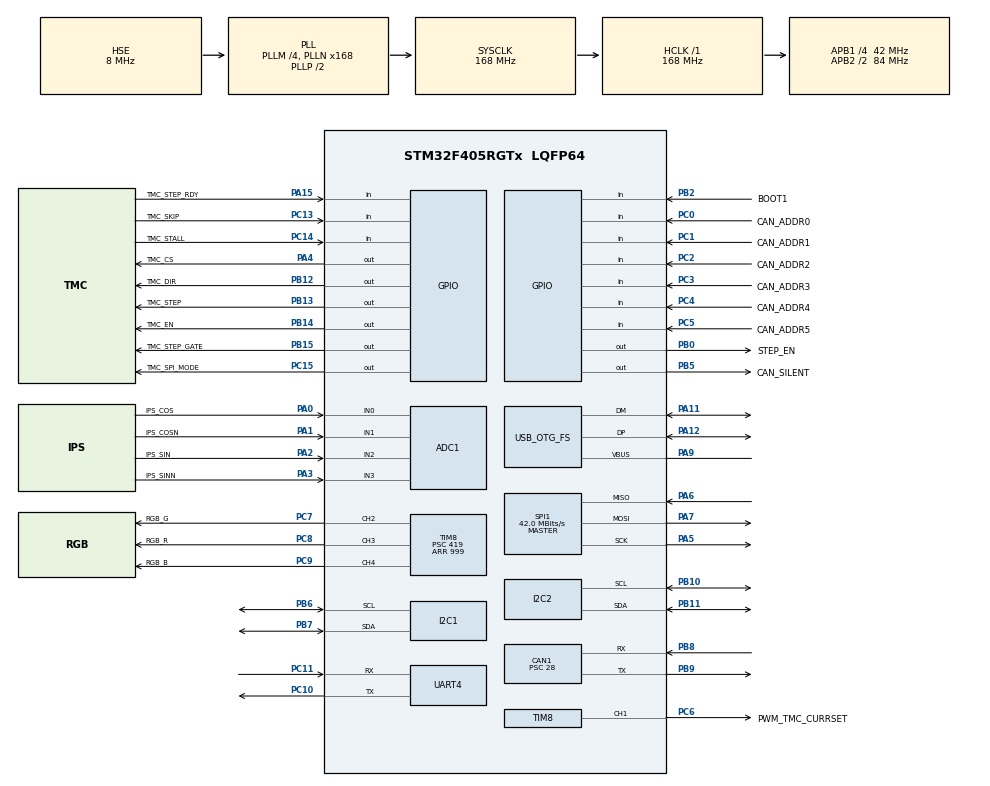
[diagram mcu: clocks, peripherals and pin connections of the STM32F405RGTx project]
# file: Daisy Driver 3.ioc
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ADC1.Channel-0\#ChannelRegularConversion=ADC_CHANNEL_0
ADC1.NbrOfConversionFlag=1
ADC1.Rank-0\#ChannelRegularConversion=1
ADC1.SamplingTime-0\#ChannelRegularConversion=ADC_SAMPLETIME_3CYCLES
ADC1.master=1
CAN1.BS1=CAN_BS1_1TQ
CAN1.BS2=CAN_BS2_1TQ
CAN1.CalculateBaudRate=499999
CAN1.CalculateTimeBit=2000
CAN1.CalculateTimeQuantum=666.6666666666667
CAN1.Prescaler=28
Mcu.Family=STM32F4
Mcu.Name=STM32F405RGTx
Mcu.Package=LQFP64
NVIC.OTG_FS_IRQn=true\:0\:0\:false\:false\:true\:false\:true\:true
NVIC.PriorityGroup=NVIC_PRIORITYGROUP_4
NVIC.TIM8_UP_TIM13_IRQn=true\:0\:0\:false\:false\:true\:true\:true\:true
PA0-WKUP.GPIO_Label=IPS_COS
PA0-WKUP.Signal=ADCx_IN0
PA1.GPIO_Label=IPS_COSN
PA1.Signal=ADCx_IN1
PA11.Mode=Device_Only
PA11.Signal=USB_OTG_FS_DM
PA12.Mode=Device_Only
PA12.Signal=USB_OTG_FS_DP
PA13.Mode=Trace_Asynchronous_SW
PA13.Signal=SYS_JTMS-SWDIO
PA14.Mode=Trace_Asynchronous_SW
PA14.Signal=SYS_JTCK-SWCLK
PA15.GPIO_Label=TMC_STEP_RDY
PA15.Signal=GPIO_Input
PA2.GPIO_Label=IPS_SIN
PA2.Signal=ADCx_IN2
PA3.GPIO_Label=IPS_SINN
PA3.Signal=ADCx_IN3
PA4.GPIO_Label=TMC_CS
PA4.Signal=GPIO_Output
PA5.Mode=Full_Duplex_Master
PA5.Signal=SPI1_SCK
PA6.Mode=Full_Duplex_Master
PA6.Signal=SPI1_MISO
PA7.Mode=Full_Duplex_Master
PA7.Signal=SPI1_MOSI
PA9.Mode=Activate_VBUS
PA9.Signal=USB_OTG_FS_VBUS
PB0.GPIO_Label=STEP_EN
PB0.Signal=GPIO_Output
PB10.Mode=I2C
PB10.Signal=I2C2_SCL
PB11.Mode=I2C
PB11.Signal=I2C2_SDA
PB12.GPIO_Label=TMC_DIR
PB12.Signal=GPIO_Output
PB13.GPIO_Label=TMC_STEP
PB13.Signal=GPIO_Output
PB14.GPIO_Label=TMC_EN
PB14.Signal=GPIO_Output
PB15.GPIO_Label=TMC_STEP_GATE
PB15.Signal=GPIO_Output
PB2.GPIO_Label=BOOT1
PB2.Signal=GPIO_Input
PB3.Mode=Trace_Asynchronous_SW
PB3.Signal=SYS_JTDO-SWO
PB5.GPIO_Label=CAN_SILENT
PB5.Signal=GPIO_Output
PB6.Mode=I2C
PB6.Signal=I2C1_SCL
PB7.Mode=I2C
PB7.Signal=I2C1_SDA
PB8.Mode=CAN_Activate
PB8.Signal=CAN1_RX
PB9.Mode=CAN_Activate
PB9.Signal=CAN1_TX
PC0.GPIO_Label=CAN_ADDR0
PC0.GPIO_PuPd=GPIO_PULLUP
PC0.Signal=GPIO_Input
PC1.GPIO_Label=CAN_ADDR1
PC1.GPIO_PuPd=GPIO_PULLUP
PC1.Signal=GPIO_Input
PC10.Mode=Asynchronous
PC10.Signal=UART4_TX
PC11.Mode=Asynchronous
PC11.Signal=UART4_RX
PC13-ANTI_TAMP.GPIO_Label=TMC_SKIP
PC13-ANTI_TAMP.Signal=GPIO_Input
PC14-OSC32_IN.GPIO_Label=TMC_STALL
PC14-OSC32_IN.Signal=GPIO_Input
PC15-OSC32_OUT.GPIO_Label=TMC_SPI_MODE
PC15-OSC32_OUT.Signal=GPIO_Output
PC2.GPIO_Label=CAN_ADDR2
PC2.GPIO_PuPd=GPIO_PULLUP
PC2.Signal=GPIO_Input
PC3.GPIO_Label=CAN_ADDR3
PC3.GPIO_PuPd=GPIO_PULLUP
PC3.Signal=GPIO_Input
PC4.GPIO_Label=CAN_ADDR4
PC4.GPIO_PuPd=GPIO_PULLUP
PC4.Signal=GPIO_Input
PC5.GPIO_Label=CAN_ADDR5
PC5.GPIO_PuPd=GPIO_PULLUP
PC5.Signal=GPIO_Input
PC6.GPIO_Label=PWM_TMC_CURRSET
PC6.Signal=S_TIM8_CH1
PC7.GPIO_Label=RGB_G
PC7.Signal=S_TIM8_CH2
PC8.GPIO_Label=RGB_R
PC8.Signal=S_TIM8_CH3
PC9.GPIO_Label=RGB_B
PC9.Signal=S_TIM8_CH4
PH0-OSC_IN.Mode=HSE-External-Oscillator
PH0-OSC_IN.Signal=RCC_OSC_IN
PH1-OSC_OUT.Mode=HSE-External-Oscillator
PH1-OSC_OUT.Signal=RCC_OSC_OUT
ProjectManager.HeapSize=0x200
ProjectManager.StackSize=0x400
ProjectManager.TargetToolchain=STM32CubeIDE
RCC.48MHZClocksFreq_Value=48000000
RCC.AHBFreq_Value=168000000
RCC.APB1CLKDivider=RCC_HCLK_DIV4
RCC.APB1Freq_Value=42000000
RCC.APB1TimFreq_Value=84000000
RCC.APB2CLKDivider=RCC_HCLK_DIV2
RCC.APB2Freq_Value=84000000
RCC.APB2TimFreq_Value=168000000
RCC.CortexFreq_Value=168000000
RCC.HCLKFreq_Value=168000000
RCC.HSE_VALUE=8000000
RCC.HSI_VALUE=16000000
RCC.LSE_VALUE=32768
RCC.PLLM=4
RCC.PLLN=168
RCC.PLLQ=7
RCC.SYSCLKFreq_VALUE=168000000
RCC.SYSCLKSource=RCC_SYSCLKSOURCE_PLLCLK
RCC.VCOOutputFreq_Value=336000000
SH.ADCx_IN0.0=ADC1_IN0,IN0
SH.ADCx_IN1.0=ADC1_IN1,IN1
SH.ADCx_IN2.0=ADC1_IN2,IN2
SH.ADCx_IN3.0=ADC1_IN3,IN3
SH.S_TIM8_CH1.0=TIM8_CH1,PWM Generation1 CH1
SH.S_TIM8_CH2.0=TIM8_CH2,PWM Generation2 CH2
SH.S_TIM8_CH3.0=TIM8_CH3,PWM Generation3 CH3
SH.S_TIM8_CH4.0=TIM8_CH4,PWM Generation4 CH4
SPI1.BaudRatePrescaler=SPI_BAUDRATEPRESCALER_2
SPI1.CalculateBaudRate=42.0 MBits/s
SPI1.Direction=SPI_DIRECTION_2LINES
SPI1.Mode=SPI_MODE_MASTER
SPI1.VirtualType=VM_MASTER
TIM8.Channel-PWM\ Generation1\ CH1=TIM_CHANNEL_1
TIM8.Channel-PWM\ Generation2\ CH2=TIM_CHANNEL_2
TIM8.Channel-PWM\ Generation3\ CH3=TIM_CHANNEL_3
TIM8.Channel-PWM\ Generation4\ CH4=TIM_CHANNEL_4
TIM8.Period=999
TIM8.Prescaler=419
TIM8.Pulse-PWM\ Generation1\ CH1=0
TIM8.Pulse-PWM\ Generation2\ CH2=1000
TIM8.Pulse-PWM\ Generation3\ CH3=1000
TIM8.Pulse-PWM\ Generation4\ CH4=1000
UART4.VirtualMode=Asynchronous
USB_DEVICE.CLASS_NAME_FS=CDC
USB_DEVICE.VirtualMode-CDC_FS=Cdc
USB_DEVICE.VirtualModeFS=Cdc_FS
USB_OTG_FS.VirtualMode=Device_Only
VP_USB_DEVICE_VS_USB_DEVICE_CDC_FS.Mode=CDC_FS
board=custom

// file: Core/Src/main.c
/* USER CODE BEGIN Header */
/**
  ******************************************************************************
  * @file           : main.c
  * @brief          : Main program body
  ******************************************************************************
  * @attention
  *
  * Copyright (c) 2023 STMicroelectronics.
  * All rights reserved.
  *
  * This software is licensed under terms that can be found in the LICENSE file
  * in the root directory of this software component.
  * If no LICENSE file comes with this software, it is provided AS-IS.
  *
  ******************************************************************************
  */
/* USER CODE END Header */
#include "main.h"
#include "usb_device.h"

/* USER CODE BEGIN Includes */
#include "CO_app_STM32.h"
#include "usbd_cdc_if.h"
#include <math.h>
#include <stdarg.h>
/* USER CODE END Includes */

/* USER CODE BEGIN PM */
#define PWM_R TIM_CHANNEL_3
#define PWM_G TIM_CHANNEL_2
#define PWM_B TIM_CHANNEL_4

#define SENSOR_MAX 2600
#define SENSOR_MIN 1500

#define SENSOR_FULL_VALUE (SENSOR_MAX-SENSOR_MIN)

#define SENSOR_MIDDLE_VALUE (SENSOR_FULL_VALUE*0.5)

#define STEPS_PER_DEGREE (105.0)
#define STEPS_PER_ROTATION (STEPS_PER_DEGREE*360)

#define RX_BUFFER_SIZE 64

/* USER CODE END PM */

ADC_HandleTypeDef hadc1;

CAN_HandleTypeDef hcan1;

I2C_HandleTypeDef hi2c1;
I2C_HandleTypeDef hi2c2;

SPI_HandleTypeDef hspi1;

TIM_HandleTypeDef htim8;

UART_HandleTypeDef huart4;

/* USER CODE BEGIN PV */
uint8_t canAddress=255;

uint32_t adc_cos, adc_sin, adc_cosn, adc_sinn;
double sensorAngle;
int32_t steps;

uint8_t rx_buffer[RX_BUFFER_SIZE];
/* USER CODE END PV */

void SystemClock_Config(void);
static void MX_GPIO_Init(void);
static void MX_ADC1_Init(void);
static void MX_CAN1_Init(void);
static void MX_I2C2_Init(void);
static void MX_SPI1_Init(void);
static void MX_TIM8_Init(void);
static void MX_I2C1_Init(void);
static void MX_UART4_Init(void);

/* USER CODE BEGIN 0 */
int usb_printf(const char* format, ...) {
    char buf[256]; // Adjust the buffer size if needed
    va_list args;
    va_start(args, format);
    int ret = vsnprintf(buf, sizeof(buf), format, args);
    va_end(args);

    if (ret > 0) {
        CDC_Transmit_FS((uint8_t*)buf, ret);
    }

    return ret;
}

/* Timer interrupt function executes every 1 ms */
void HAL_TIM_PeriodElapsedCallback(TIM_HandleTypeDef* htim) {
    if (htim == canopenNodeSTM32->timerHandle) {
        canopen_app_interrupt();
    }
}

void blinkLed(GPIO_TypeDef *GPIOx, uint16_t GPIO_Pin, int numBlinks, int delayMs) {
  for (int i = 0; i < numBlinks; i++) {
    HAL_GPIO_WritePin(GPIOx, GPIO_Pin, GPIO_PIN_SET);
    HAL_Delay(delayMs);
    HAL_GPIO_WritePin(GPIOx, GPIO_Pin, GPIO_PIN_RESET);
    HAL_Delay(delayMs);
  }
}

/**
 * @param channel the color to set - PWM_R,PWM_G,PWM_B
 * @param duty [0...100]
 */
void setLEDOnTIM8(uint32_t channel,int duty) {
	__HAL_TIM_SET_COMPARE(&htim8, channel, duty);
}

/**
 * @param r 0...100
 * @param g 0...100
 * @param b 0...100
 */
void setRGBLEDOnTIM8(int r,int g,int b) {
	setLEDOnTIM8(PWM_R,r);
	setLEDOnTIM8(PWM_G,g);
	setLEDOnTIM8(PWM_B,b);
}

/**
 * @param r 0...255
 * @param g 0...255
 * @param b 0...255
 */
void LEDSetColor(int r,int g,int b) {
  #define RGBTOLED(x) (((double)x)*100.0/255.0)
  setRGBLEDOnTIM8(
		  RGBTOLED(r),
		  RGBTOLED(g),
		  RGBTOLED(b));
}

// Input a value 0 to 255 to get a color value.
// The colours are a transition r - g - b - back to r.
void wheel(uint8_t WheelPos) {
  if(WheelPos < 85) {
	LEDSetColor(255 - WheelPos * 3,0,WheelPos * 3);
  } else if(WheelPos < 170) {
    WheelPos -= 85;
    LEDSetColor(0,WheelPos * 3,255 - WheelPos * 3);
  } else {
    WheelPos -= 170;
    LEDSetColor(WheelPos * 3,255 - WheelPos * 3,0);
  }
}

void blinkPWM(TIM_HandleTypeDef *htim, uint32_t channel, int numBlinks, int delayMs) {
  for (int i = 0; i < numBlinks; i++) {
	__HAL_TIM_SET_COMPARE(htim, channel, 100); // Set PWM duty cycle to 100%
	HAL_Delay(delayMs);
	__HAL_TIM_SET_COMPARE(htim, channel, 0); // Set PWM duty cycle to 0%
	HAL_Delay(delayMs);
  }
}

void LEDSetup() {
  // Assuming TIM8 has already been initialized in your project using MX_TIM8_Init() function
  HAL_TIM_PWM_Start(&htim8, PWM_R);
  HAL_TIM_PWM_Start(&htim8, PWM_G);
  HAL_TIM_PWM_Start(&htim8, PWM_B);

  // Blink the RGB_R LED three times with 100ms duration each
  blinkPWM(&htim8, PWM_R, 3, 100);
  blinkPWM(&htim8, PWM_G, 3, 100);
  blinkPWM(&htim8, PWM_B, 3, 100);
}

uint8_t readCanAddress() {
  GPIO_PinState pinState0 = HAL_GPIO_ReadPin(CAN_ADDR0_GPIO_Port,CAN_ADDR0_Pin);
  GPIO_PinState pinState1 = HAL_GPIO_ReadPin(CAN_ADDR1_GPIO_Port,CAN_ADDR1_Pin);
  GPIO_PinState pinState2 = HAL_GPIO_ReadPin(CAN_ADDR2_GPIO_Port,CAN_ADDR2_Pin);
  GPIO_PinState pinState3 = HAL_GPIO_ReadPin(CAN_ADDR3_GPIO_Port,CAN_ADDR3_Pin);
  GPIO_PinState pinState4 = HAL_GPIO_ReadPin(CAN_ADDR4_GPIO_Port,CAN_ADDR4_Pin);
  GPIO_PinState pinState5 = HAL_GPIO_ReadPin(CAN_ADDR5_GPIO_Port,CAN_ADDR5_Pin);

  return  ((pinState0==GPIO_PIN_SET)<<0) |
		  ((pinState1==GPIO_PIN_SET)<<1) |
		  ((pinState2==GPIO_PIN_SET)<<2) |
		  ((pinState3==GPIO_PIN_SET)<<3) |
		  ((pinState4==GPIO_PIN_SET)<<4) |
		  ((pinState5==GPIO_PIN_SET)<<5);
}

void CANSetup() {
  canAddress = readCanAddress();

  CANopenNodeSTM32 canOpenNodeSTM32;
  canOpenNodeSTM32.CANHandle = &hcan1;
  canOpenNodeSTM32.HWInitFunction = MX_CAN1_Init;
  canOpenNodeSTM32.timerHandle = &htim8;
  canOpenNodeSTM32.desiredNodeID = canAddress;
  canOpenNodeSTM32.baudrate = 500;
  canopen_app_init(&canOpenNodeSTM32);

  HAL_TIM_Base_Start_IT(&htim8);
}

void sensorRead() {
  ADC_ChannelConfTypeDef sConfig = {0};
  sConfig.Rank = 1;
  sConfig.SamplingTime = ADC_SAMPLETIME_3CYCLES;

  // Read ADC values for adc_cos (ADC1_IN0)
  sConfig.Channel = ADC_CHANNEL_0;
  HAL_ADC_ConfigChannel(&hadc1, &sConfig);
  HAL_ADC_Start(&hadc1);
  HAL_ADC_PollForConversion(&hadc1, 10);
  adc_cos = HAL_ADC_GetValue(&hadc1);

  // Read ADC values for adc_cosn (ADC1_IN1)
  sConfig.Channel = ADC_CHANNEL_1;
  HAL_ADC_ConfigChannel(&hadc1, &sConfig);
  HAL_ADC_Start(&hadc1);
  HAL_ADC_PollForConversion(&hadc1, 10);
  adc_cosn = HAL_ADC_GetValue(&hadc1);

  // Read ADC values for adc_sin (ADC1_IN2)
  sConfig.Channel = ADC_CHANNEL_2;
  HAL_ADC_ConfigChannel(&hadc1, &sConfig);
  HAL_ADC_Start(&hadc1);
  HAL_ADC_PollForConversion(&hadc1, 10);
  adc_sin = HAL_ADC_GetValue(&hadc1);

  // Read ADC values for adc_sinn (ADC1_IN3)
  sConfig.Channel = ADC_CHANNEL_3;
  HAL_ADC_ConfigChannel(&hadc1, &sConfig);
  HAL_ADC_Start(&hadc1);
  HAL_ADC_PollForConversion(&hadc1, 10);
  adc_sinn = HAL_ADC_GetValue(&hadc1);

  // Perform calculations
  double c = ((double)adc_cos - SENSOR_MIDDLE_VALUE);
  double s = ((double)adc_sin - SENSOR_MIDDLE_VALUE);
  double cn = ((double)adc_cosn - SENSOR_MIDDLE_VALUE);
  double sn = ((double)adc_sinn - SENSOR_MIDDLE_VALUE);
  double sx = c - cn;
  double sy = s - sn;

  double sensorAngleUnit = (atan2(sy, sx) + M_PI) / (2.0 * M_PI);
  sensorAngle = 360.0 * sensorAngleUnit;

  //usb_printf("%.2f\n",sensorAngle);
  //usb_printf("%d %d %d %d\n",adc_cos, adc_sin, adc_cosn, adc_sinn);
  //usb_printf("%.2f %.2f %.2f %.2f %.2f %.2f %.2f %.2f\n",c, s, cn, sn, sx, sy, atan2(sy, sx), sensorAngleUnit);
}

void sensorSetup() {
  HAL_ADC_Start(&hadc1);
  sensorRead();
  steps = sensorAngle * STEPS_PER_DEGREE;
}

/* USER CODE END 0 */

int main(void)
{

  /* MCU Configuration--------------------------------------------------------*/

  /* Reset of all peripherals, Initializes the Flash interface and the Systick. */
  HAL_Init();

  /* Configure the system clock */
  SystemClock_Config();

  /* Initialize all configured peripherals */
  MX_GPIO_Init();
  MX_ADC1_Init();
  MX_CAN1_Init();
  MX_I2C2_Init();
  MX_SPI1_Init();
  MX_TIM8_Init();
  MX_I2C1_Init();
  MX_UART4_Init();
  MX_USB_DEVICE_Init();
  /* USER CODE BEGIN 2 */
  CANSetup();
  sensorSetup();
  LEDSetup();
  usb_printf("Hello, World!  My ID is %d\n",canAddress);
  /* USER CODE END 2 */

  /* Infinite loop */
  /* USER CODE BEGIN WHILE */
  while (1)
  {
	sensorRead();
	wheel(sensorAngle*255.0/360.0);
    /* USER CODE END WHILE */

    /* USER CODE BEGIN 3 */
	//canopen_app_process();
  }
  /* USER CODE END 3 */
}

void SystemClock_Config(void)
{
  RCC_OscInitTypeDef RCC_OscInitStruct = {0};
  RCC_ClkInitTypeDef RCC_ClkInitStruct = {0};

  /** Configure the main internal regulator output voltage
  */
  __HAL_RCC_PWR_CLK_ENABLE();
  __HAL_PWR_VOLTAGESCALING_CONFIG(PWR_REGULATOR_VOLTAGE_SCALE1);

  /** Initializes the RCC Oscillators according to the specified parameters
  * in the RCC_OscInitTypeDef structure.
  */
  RCC_OscInitStruct.OscillatorType = RCC_OSCILLATORTYPE_HSE;
  RCC_OscInitStruct.HSEState = RCC_HSE_ON;
  RCC_OscInitStruct.PLL.PLLState = RCC_PLL_ON;
  RCC_OscInitStruct.PLL.PLLSource = RCC_PLLSOURCE_HSE;
  RCC_OscInitStruct.PLL.PLLM = 4;
  RCC_OscInitStruct.PLL.PLLN = 168;
  RCC_OscInitStruct.PLL.PLLP = RCC_PLLP_DIV2;
  RCC_OscInitStruct.PLL.PLLQ = 7;
  if (HAL_RCC_OscConfig(&RCC_OscInitStruct) != HAL_OK)
  {
    Error_Handler();
  }

  /** Initializes the CPU, AHB and APB buses clocks
  */
  RCC_ClkInitStruct.ClockType = RCC_CLOCKTYPE_HCLK|RCC_CLOCKTYPE_SYSCLK
                              |RCC_CLOCKTYPE_PCLK1|RCC_CLOCKTYPE_PCLK2;
  RCC_ClkInitStruct.SYSCLKSource = RCC_SYSCLKSOURCE_PLLCLK;
  RCC_ClkInitStruct.AHBCLKDivider = RCC_SYSCLK_DIV1;
  RCC_ClkInitStruct.APB1CLKDivider = RCC_HCLK_DIV4;
  RCC_ClkInitStruct.APB2CLKDivider = RCC_HCLK_DIV2;

  if (HAL_RCC_ClockConfig(&RCC_ClkInitStruct, FLASH_LATENCY_5) != HAL_OK)
  {
    Error_Handler();
  }
}

static void MX_ADC1_Init(void)
{

  ADC_ChannelConfTypeDef sConfig = {0};

  /** Configure the global features of the ADC (Clock, Resolution, Data Alignment and number of conversion)
  */
  hadc1.Instance = ADC1;
  hadc1.Init.ClockPrescaler = ADC_CLOCK_SYNC_PCLK_DIV4;
  hadc1.Init.Resolution = ADC_RESOLUTION_12B;
  hadc1.Init.ScanConvMode = DISABLE;
  hadc1.Init.ContinuousConvMode = DISABLE;
  hadc1.Init.DiscontinuousConvMode = DISABLE;
  hadc1.Init.ExternalTrigConvEdge = ADC_EXTERNALTRIGCONVEDGE_NONE;
  hadc1.Init.ExternalTrigConv = ADC_SOFTWARE_START;
  hadc1.Init.DataAlign = ADC_DATAALIGN_RIGHT;
  hadc1.Init.NbrOfConversion = 1;
  hadc1.Init.DMAContinuousRequests = DISABLE;
  hadc1.Init.EOCSelection = ADC_EOC_SINGLE_CONV;
  if (HAL_ADC_Init(&hadc1) != HAL_OK)
  {
    Error_Handler();
  }

  /** Configure for the selected ADC regular channel its corresponding rank in the sequencer and its sample time.
  */
  sConfig.Channel = ADC_CHANNEL_0;
  sConfig.Rank = 1;
  sConfig.SamplingTime = ADC_SAMPLETIME_3CYCLES;
  if (HAL_ADC_ConfigChannel(&hadc1, &sConfig) != HAL_OK)
  {
    Error_Handler();
  }

}

static void MX_CAN1_Init(void)
{

  hcan1.Instance = CAN1;
  hcan1.Init.Prescaler = 28;
  hcan1.Init.Mode = CAN_MODE_NORMAL;
  hcan1.Init.SyncJumpWidth = CAN_SJW_1TQ;
  hcan1.Init.TimeSeg1 = CAN_BS1_1TQ;
  hcan1.Init.TimeSeg2 = CAN_BS2_1TQ;
  hcan1.Init.TimeTriggeredMode = DISABLE;
  hcan1.Init.AutoBusOff = DISABLE;
  hcan1.Init.AutoWakeUp = DISABLE;
  hcan1.Init.AutoRetransmission = DISABLE;
  hcan1.Init.ReceiveFifoLocked = DISABLE;
  hcan1.Init.TransmitFifoPriority = DISABLE;
  if (HAL_CAN_Init(&hcan1) != HAL_OK)
  {
    Error_Handler();
  }

}

static void MX_I2C1_Init(void)
{

  hi2c1.Instance = I2C1;
  hi2c1.Init.ClockSpeed = 100000;
  hi2c1.Init.DutyCycle = I2C_DUTYCYCLE_2;
  hi2c1.Init.OwnAddress1 = 0;
  hi2c1.Init.AddressingMode = I2C_ADDRESSINGMODE_7BIT;
  hi2c1.Init.DualAddressMode = I2C_DUALADDRESS_DISABLE;
  hi2c1.Init.OwnAddress2 = 0;
  hi2c1.Init.GeneralCallMode = I2C_GENERALCALL_DISABLE;
  hi2c1.Init.NoStretchMode = I2C_NOSTRETCH_DISABLE;
  if (HAL_I2C_Init(&hi2c1) != HAL_OK)
  {
    Error_Handler();
  }

}

static void MX_I2C2_Init(void)
{

  hi2c2.Instance = I2C2;
  hi2c2.Init.ClockSpeed = 100000;
  hi2c2.Init.DutyCycle = I2C_DUTYCYCLE_2;
  hi2c2.Init.OwnAddress1 = 0;
  hi2c2.Init.AddressingMode = I2C_ADDRESSINGMODE_7BIT;
  hi2c2.Init.DualAddressMode = I2C_DUALADDRESS_DISABLE;
  hi2c2.Init.OwnAddress2 = 0;
  hi2c2.Init.GeneralCallMode = I2C_GENERALCALL_DISABLE;
  hi2c2.Init.NoStretchMode = I2C_NOSTRETCH_DISABLE;
  if (HAL_I2C_Init(&hi2c2) != HAL_OK)
  {
    Error_Handler();
  }

}

static void MX_SPI1_Init(void)
{

  /* SPI1 parameter configuration*/
  hspi1.Instance = SPI1;
  hspi1.Init.Mode = SPI_MODE_MASTER;
  hspi1.Init.Direction = SPI_DIRECTION_2LINES;
  hspi1.Init.DataSize = SPI_DATASIZE_8BIT;
  hspi1.Init.CLKPolarity = SPI_POLARITY_LOW;
  hspi1.Init.CLKPhase = SPI_PHASE_1EDGE;
  hspi1.Init.NSS = SPI_NSS_SOFT;
  hspi1.Init.BaudRatePrescaler = SPI_BAUDRATEPRESCALER_2;
  hspi1.Init.FirstBit = SPI_FIRSTBIT_MSB;
  hspi1.Init.TIMode = SPI_TIMODE_DISABLE;
  hspi1.Init.CRCCalculation = SPI_CRCCALCULATION_DISABLE;
  hspi1.Init.CRCPolynomial = 10;
  if (HAL_SPI_Init(&hspi1) != HAL_OK)
  {
    Error_Handler();
  }

}

static void MX_TIM8_Init(void)
{

  TIM_MasterConfigTypeDef sMasterConfig = {0};
  TIM_OC_InitTypeDef sConfigOC = {0};
  TIM_BreakDeadTimeConfigTypeDef sBreakDeadTimeConfig = {0};

  htim8.Instance = TIM8;
  htim8.Init.Prescaler = 419;
  htim8.Init.CounterMode = TIM_COUNTERMODE_UP;
  htim8.Init.Period = 999;
  htim8.Init.ClockDivision = TIM_CLOCKDIVISION_DIV1;
  htim8.Init.RepetitionCounter = 0;
  htim8.Init.AutoReloadPreload = TIM_AUTORELOAD_PRELOAD_DISABLE;
  if (HAL_TIM_PWM_Init(&htim8) != HAL_OK)
  {
    Error_Handler();
  }
  sMasterConfig.MasterOutputTrigger = TIM_TRGO_RESET;
  sMasterConfig.MasterSlaveMode = TIM_MASTERSLAVEMODE_DISABLE;
  if (HAL_TIMEx_MasterConfigSynchronization(&htim8, &sMasterConfig) != HAL_OK)
  {
    Error_Handler();
  }
  sConfigOC.OCMode = TIM_OCMODE_PWM1;
  sConfigOC.Pulse = 0;
  sConfigOC.OCPolarity = TIM_OCPOLARITY_HIGH;
  sConfigOC.OCNPolarity = TIM_OCNPOLARITY_HIGH;
  sConfigOC.OCFastMode = TIM_OCFAST_DISABLE;
  sConfigOC.OCIdleState = TIM_OCIDLESTATE_RESET;
  sConfigOC.OCNIdleState = TIM_OCNIDLESTATE_RESET;
  if (HAL_TIM_PWM_ConfigChannel(&htim8, &sConfigOC, TIM_CHANNEL_1) != HAL_OK)
  {
    Error_Handler();
  }
  sConfigOC.Pulse = 1000;
  if (HAL_TIM_PWM_ConfigChannel(&htim8, &sConfigOC, TIM_CHANNEL_2) != HAL_OK)
  {
    Error_Handler();
  }
  if (HAL_TIM_PWM_ConfigChannel(&htim8, &sConfigOC, TIM_CHANNEL_3) != HAL_OK)
  {
    Error_Handler();
  }
  if (HAL_TIM_PWM_ConfigChannel(&htim8, &sConfigOC, TIM_CHANNEL_4) != HAL_OK)
  {
    Error_Handler();
  }
  sBreakDeadTimeConfig.OffStateRunMode = TIM_OSSR_DISABLE;
  sBreakDeadTimeConfig.OffStateIDLEMode = TIM_OSSI_DISABLE;
  sBreakDeadTimeConfig.LockLevel = TIM_LOCKLEVEL_OFF;
  sBreakDeadTimeConfig.DeadTime = 0;
  sBreakDeadTimeConfig.BreakState = TIM_BREAK_DISABLE;
  sBreakDeadTimeConfig.BreakPolarity = TIM_BREAKPOLARITY_HIGH;
  sBreakDeadTimeConfig.AutomaticOutput = TIM_AUTOMATICOUTPUT_DISABLE;
  if (HAL_TIMEx_ConfigBreakDeadTime(&htim8, &sBreakDeadTimeConfig) != HAL_OK)
  {
    Error_Handler();
  }
  HAL_TIM_MspPostInit(&htim8);

}

static void MX_UART4_Init(void)
{

  huart4.Instance = UART4;
  huart4.Init.BaudRate = 115200;
  huart4.Init.WordLength = UART_WORDLENGTH_8B;
  huart4.Init.StopBits = UART_STOPBITS_1;
  huart4.Init.Parity = UART_PARITY_NONE;
  huart4.Init.Mode = UART_MODE_TX_RX;
  huart4.Init.HwFlowCtl = UART_HWCONTROL_NONE;
  huart4.Init.OverSampling = UART_OVERSAMPLING_16;
  if (HAL_UART_Init(&huart4) != HAL_OK)
  {
    Error_Handler();
  }

}

static void MX_GPIO_Init(void)
{
  GPIO_InitTypeDef GPIO_InitStruct = {0};

  /* GPIO Ports Clock Enable */
  __HAL_RCC_GPIOC_CLK_ENABLE();
  __HAL_RCC_GPIOH_CLK_ENABLE();
  __HAL_RCC_GPIOA_CLK_ENABLE();
  __HAL_RCC_GPIOB_CLK_ENABLE();

  /*Configure GPIO pin Output Level */
  HAL_GPIO_WritePin(TMC_SPI_MODE_GPIO_Port, TMC_SPI_MODE_Pin, GPIO_PIN_RESET);

  /*Configure GPIO pin Output Level */
  HAL_GPIO_WritePin(TMC_CS_GPIO_Port, TMC_CS_Pin, GPIO_PIN_RESET);

  /*Configure GPIO pin Output Level */
  HAL_GPIO_WritePin(GPIOB, STEP_EN_Pin|TMC_DIR_Pin|TMC_STEP_Pin|TMC_EN_Pin
                          |TMC_STEP_GATE_Pin|CAN_SILENT_Pin, GPIO_PIN_RESET);

  /*Configure GPIO pins : TMC_SKIP_Pin TMC_STALL_Pin */
  GPIO_InitStruct.Pin = TMC_SKIP_Pin|TMC_STALL_Pin;
  GPIO_InitStruct.Mode = GPIO_MODE_INPUT;
  GPIO_InitStruct.Pull = GPIO_NOPULL;
  HAL_GPIO_Init(GPIOC, &GPIO_InitStruct);

  /*Configure GPIO pin : TMC_SPI_MODE_Pin */
  GPIO_InitStruct.Pin = TMC_SPI_MODE_Pin;
  GPIO_InitStruct.Mode = GPIO_MODE_OUTPUT_PP;
  GPIO_InitStruct.Pull = GPIO_NOPULL;
  GPIO_InitStruct.Speed = GPIO_SPEED_FREQ_LOW;
  HAL_GPIO_Init(TMC_SPI_MODE_GPIO_Port, &GPIO_InitStruct);

  /*Configure GPIO pins : CAN_ADDR0_Pin CAN_ADDR1_Pin CAN_ADDR2_Pin CAN_ADDR3_Pin
                           CAN_ADDR4_Pin CAN_ADDR5_Pin */
  GPIO_InitStruct.Pin = CAN_ADDR0_Pin|CAN_ADDR1_Pin|CAN_ADDR2_Pin|CAN_ADDR3_Pin
                          |CAN_ADDR4_Pin|CAN_ADDR5_Pin;
  GPIO_InitStruct.Mode = GPIO_MODE_INPUT;
  GPIO_InitStruct.Pull = GPIO_PULLUP;
  HAL_GPIO_Init(GPIOC, &GPIO_InitStruct);

  /*Configure GPIO pin : TMC_CS_Pin */
  GPIO_InitStruct.Pin = TMC_CS_Pin;
  GPIO_InitStruct.Mode = GPIO_MODE_OUTPUT_PP;
  GPIO_InitStruct.Pull = GPIO_NOPULL;
  GPIO_InitStruct.Speed = GPIO_SPEED_FREQ_LOW;
  HAL_GPIO_Init(TMC_CS_GPIO_Port, &GPIO_InitStruct);

  /*Configure GPIO pins : STEP_EN_Pin TMC_DIR_Pin TMC_STEP_Pin TMC_EN_Pin
                           TMC_STEP_GATE_Pin CAN_SILENT_Pin */
  GPIO_InitStruct.Pin = STEP_EN_Pin|TMC_DIR_Pin|TMC_STEP_Pin|TMC_EN_Pin
                          |TMC_STEP_GATE_Pin|CAN_SILENT_Pin;
  GPIO_InitStruct.Mode = GPIO_MODE_OUTPUT_PP;
  GPIO_InitStruct.Pull = GPIO_NOPULL;
  GPIO_InitStruct.Speed = GPIO_SPEED_FREQ_LOW;
  HAL_GPIO_Init(GPIOB, &GPIO_InitStruct);

  /*Configure GPIO pin : BOOT1_Pin */
  GPIO_InitStruct.Pin = BOOT1_Pin;
  GPIO_InitStruct.Mode = GPIO_MODE_INPUT;
  GPIO_InitStruct.Pull = GPIO_NOPULL;
  HAL_GPIO_Init(BOOT1_GPIO_Port, &GPIO_InitStruct);

  /*Configure GPIO pin : TMC_STEP_RDY_Pin */
  GPIO_InitStruct.Pin = TMC_STEP_RDY_Pin;
  GPIO_InitStruct.Mode = GPIO_MODE_INPUT;
  GPIO_InitStruct.Pull = GPIO_NOPULL;
  HAL_GPIO_Init(TMC_STEP_RDY_GPIO_Port, &GPIO_InitStruct);

}

void Error_Handler(void)
{
  __disable_irq();
  while (1)
  {
  }
}
